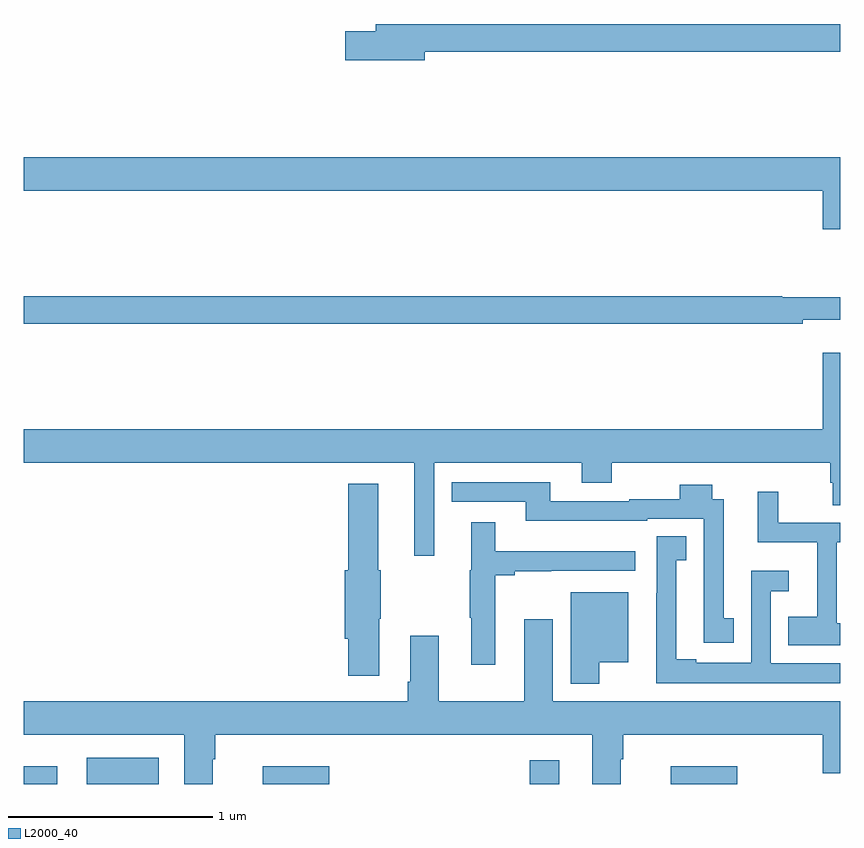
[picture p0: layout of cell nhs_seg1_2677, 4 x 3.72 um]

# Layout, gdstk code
import gdstk
lib = gdstk.Library(unit=1e-6, precision=1e-09)
def R(c, l, rs):  # rectangles x0, y0, x1, y1
    for r in rs: c.add(gdstk.rectangle(r[:2], r[2:], *l))
def P(c, l, *ps):  # polygons
    for p in ps: c.add(gdstk.Polygon(p, *l))
L2000_40 = (2000, 40)

nhs_seg1_2677 = lib.new_cell('nhs_seg1_2677')
R(nhs_seg1_2677, L2000_40, [(257,510.199,257.164,510.286), (257.31,510.199,257.662,510.328), (258.171,510.199,258.496,510.286), (259.478,510.199,259.624,510.316), (260.169,510.199,260.494,510.286)])
P(nhs_seg1_2677, L2000_40, [(258.964,513.784),(261,513.784),(261,513.92),(258.725,513.92),(258.725,513.884),(258.576,513.884),(258.576,513.742),(258.964,513.742)],
  [(261,513.268),(257,513.268),(257,513.104),(260.912,513.104),(260.912,512.916),(261,512.916)],
  [(260.816,512.471),(261,512.471),(261,512.581),(260.716,512.581),(260.716,512.588),(257,512.588),(257,512.452),(260.816,512.452)],
  [(259.011,511.772),(259.733,511.772),(259.733,511.673),(259.881,511.673),(259.881,511.772),(260.951,511.772),(260.951,511.674),(260.963,511.674),(260.963,511.564),(261,511.564),(261,512.311),(260.912,512.311),(260.912,511.936),(257,511.936),(257,511.772),(258.914,511.772),(258.914,511.317),(259.011,511.317)],
  [(260.477,511.011),(260.428,511.011),(260.428,511.593),(260.371,511.593),(260.371,511.663),(260.212,511.663),(260.212,511.594),(259.965,511.594),(259.965,511.584),(259.579,511.584),(259.579,511.677),(259.096,511.677),(259.096,511.581),(259.46,511.581),(259.46,511.487),(260.055,511.487),(260.055,511.497),(260.331,511.497),(260.331,511.214),(260.33,511.214),(260.33,510.891),(260.477,510.891)],
  [(258.742,511.009),(258.75,511.009),(258.75,511.245),(258.736,511.245),(258.736,511.669),(258.59,511.669),(258.59,511.245),(258.572,511.245),(258.572,510.909),(258.59,510.909),(258.59,510.729),(258.742,510.729)],
  [(261,510.985),(260.982,510.985),(260.982,511.383),(261,511.383),(261,511.479),(260.696,511.479),(260.696,511.63),(260.594,511.63),(260.594,511.382),(260.885,511.382),(260.885,511.018),(260.743,511.018),(260.743,510.878),(261,510.878)],
  [(259.309,511.222),(259.405,511.222),(259.405,511.24),(259.583,511.24),(259.583,511.242),(259.996,511.242),(259.996,511.339),(259.309,511.339),(259.309,511.48),(259.193,511.48),(259.193,511.245),(259.186,511.245),(259.186,511.012),(259.193,511.012),(259.193,510.783),(259.309,510.783)],
  [(260.555,510.693),(261,510.693),(261,510.789),(260.658,510.789),(260.658,511.142),(260.746,511.142),(260.746,511.243),(260.562,511.243),(260.562,510.793),(260.293,510.793),(260.293,510.811),(260.197,510.811),(260.197,511.294),(260.246,511.294),(260.246,511.412),(260.1,511.412),(260.1,511.134),(260.099,511.134),(260.099,510.692),(260.555,510.692)],
  [(259.819,510.794),(259.96,510.794),(259.96,511.138),(259.679,511.138),(259.679,510.689),(259.819,510.689)],
  [(259.451,511.006),(259.451,510.604),(259.033,510.604),(259.033,510.925),(258.893,510.925),(258.893,510.7),(258.881,510.7),(258.881,510.604),(257,510.604),(257,510.44),(257.786,510.44),(257.786,510.199),(257.926,510.199),(257.926,510.32),(257.939,510.32),(257.939,510.44),(259.784,510.44),(259.784,510.199),(259.924,510.199),(259.924,510.32),(259.937,510.32),(259.937,510.44),(260.912,510.44),(260.912,510.252),(261,510.252),(261,510.604),(259.591,510.604),(259.591,511.006)])

lib.write_gds('nhs_seg1_2677.gds')
